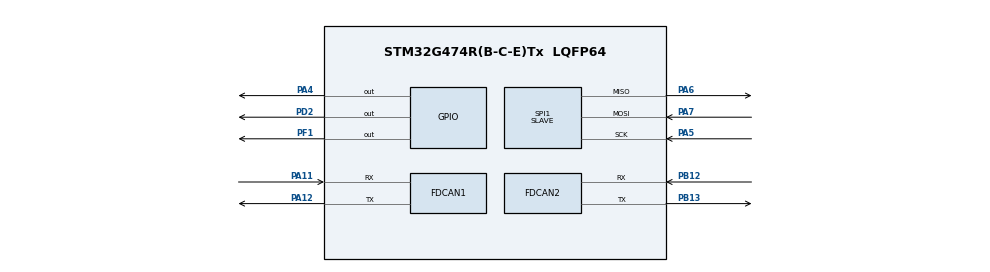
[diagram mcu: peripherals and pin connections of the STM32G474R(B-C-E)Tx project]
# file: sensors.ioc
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CRC.DefaultPolynomialUse=DEFAULT_POLYNOMIAL_ENABLE
Dma.Request0=SPI1_TX
Dma.Request1=SPI1_RX
Dma.SPI1_RX.1.Direction=DMA_PERIPH_TO_MEMORY
Dma.SPI1_RX.1.EventEnable=DISABLE
Dma.SPI1_RX.1.Instance=DMA1_Channel2
Dma.SPI1_RX.1.MemDataAlignment=DMA_MDATAALIGN_HALFWORD
Dma.SPI1_RX.1.MemInc=DMA_MINC_ENABLE
Dma.SPI1_RX.1.Mode=DMA_NORMAL
Dma.SPI1_RX.1.PeriphDataAlignment=DMA_PDATAALIGN_HALFWORD
Dma.SPI1_RX.1.PeriphInc=DMA_PINC_DISABLE
Dma.SPI1_RX.1.Polarity=HAL_DMAMUX_REQ_GEN_RISING
Dma.SPI1_RX.1.Priority=DMA_PRIORITY_LOW
Dma.SPI1_RX.1.RequestNumber=1
Dma.SPI1_RX.1.SignalID=NONE
Dma.SPI1_RX.1.SyncEnable=DISABLE
Dma.SPI1_RX.1.SyncPolarity=HAL_DMAMUX_SYNC_NO_EVENT
Dma.SPI1_RX.1.SyncRequestNumber=1
Dma.SPI1_RX.1.SyncSignalID=NONE
Dma.SPI1_TX.0.Direction=DMA_MEMORY_TO_PERIPH
Dma.SPI1_TX.0.EventEnable=DISABLE
Dma.SPI1_TX.0.Instance=DMA1_Channel1
Dma.SPI1_TX.0.MemDataAlignment=DMA_MDATAALIGN_HALFWORD
Dma.SPI1_TX.0.MemInc=DMA_MINC_ENABLE
Dma.SPI1_TX.0.Mode=DMA_NORMAL
Dma.SPI1_TX.0.PeriphDataAlignment=DMA_PDATAALIGN_HALFWORD
Dma.SPI1_TX.0.PeriphInc=DMA_PINC_DISABLE
Dma.SPI1_TX.0.Polarity=HAL_DMAMUX_REQ_GEN_RISING
Dma.SPI1_TX.0.Priority=DMA_PRIORITY_HIGH
Dma.SPI1_TX.0.RequestNumber=1
Dma.SPI1_TX.0.SignalID=NONE
Dma.SPI1_TX.0.SyncEnable=DISABLE
Dma.SPI1_TX.0.SyncPolarity=HAL_DMAMUX_SYNC_NO_EVENT
Dma.SPI1_TX.0.SyncRequestNumber=1
Dma.SPI1_TX.0.SyncSignalID=NONE
FDCAN1.CalculateBaudRateNominal=1000000
FDCAN1.CalculateTimeBitNominal=1000
FDCAN1.CalculateTimeQuantumNominal=6.25
FDCAN1.ClockDivider=FDCAN_CLOCK_DIV1
FDCAN1.FrameFormat=FDCAN_FRAME_CLASSIC
FDCAN1.NominalPrescaler=1
FDCAN1.NominalSyncJumpWidth=40
FDCAN1.NominalTimeSeg1=119
FDCAN1.NominalTimeSeg2=40
FDCAN2.CalculateBaudRateNominal=1000000
FDCAN2.CalculateTimeBitNominal=1000
FDCAN2.CalculateTimeQuantumNominal=6.25
FDCAN2.DataSyncJumpWidth=10
FDCAN2.DataTimeSeg1=9
FDCAN2.DataTimeSeg2=10
FDCAN2.FrameFormat=FDCAN_FRAME_FD_NO_BRS
FDCAN2.NominalPrescaler=1
FDCAN2.NominalSyncJumpWidth=40
FDCAN2.NominalTimeSeg1=119
FDCAN2.NominalTimeSeg2=40
Mcu.Family=STM32G4
Mcu.Name=STM32G474R(B-C-E)Tx
Mcu.Package=LQFP64
NVIC.DMA1_Channel1_IRQn=true\:0\:0\:false\:false\:true\:false\:true\:true
NVIC.DMA1_Channel2_IRQn=true\:0\:0\:false\:false\:true\:false\:true\:true
NVIC.FDCAN1_IT0_IRQn=true\:0\:0\:false\:false\:true\:true\:true\:true
NVIC.FDCAN2_IT0_IRQn=true\:0\:0\:false\:false\:true\:true\:true\:true
NVIC.PriorityGroup=NVIC_PRIORITYGROUP_4
NVIC.TIM1_UP_TIM16_IRQn=true\:15\:0\:false\:false\:true\:false\:true\:true
NVIC.TimeBase=TIM1_UP_TIM16_IRQn
NVIC.TimeBaseIP=TIM1
PA11.GPIO_Mode=GPIO_MODE_AF_PP
PA11.GPIO_PuPd=GPIO_NOPULL
PA11.GPIO_Speed=GPIO_SPEED_FREQ_VERY_HIGH
PA11.Mode=FDCAN_Activate
PA11.Signal=FDCAN1_RX
PA12.GPIO_Mode=GPIO_MODE_AF_PP
PA12.GPIO_PuPd=GPIO_NOPULL
PA12.GPIO_Speed=GPIO_SPEED_FREQ_VERY_HIGH
PA12.Mode=FDCAN_Activate
PA12.Signal=FDCAN1_TX
PA13.Mode=Trace_Asynchronous_SW
PA13.Signal=SYS_JTMS-SWDIO
PA14.Mode=Trace_Asynchronous_SW
PA14.Signal=SYS_JTCK-SWCLK
PA4.GPIO_ModeDefaultOutputPP=GPIO_MODE_OUTPUT_PP
PA4.GPIO_PuPd=GPIO_NOPULL
PA4.GPIO_Speed=GPIO_SPEED_FREQ_VERY_HIGH
PA4.PinState=GPIO_PIN_SET
PA4.Signal=GPIO_Output
PA5.GPIO_Speed=GPIO_SPEED_FREQ_VERY_HIGH
PA5.Mode=Full_Duplex_Slave
PA5.Signal=SPI1_SCK
PA6.GPIO_Speed=GPIO_SPEED_FREQ_VERY_HIGH
PA6.Mode=Full_Duplex_Slave
PA6.Signal=SPI1_MISO
PA7.GPIO_PuPd=GPIO_PULLDOWN
PA7.GPIO_Speed=GPIO_SPEED_FREQ_VERY_HIGH
PA7.Mode=Full_Duplex_Slave
PA7.Signal=SPI1_MOSI
PB12.GPIO_Speed=GPIO_SPEED_FREQ_VERY_HIGH
PB12.Mode=FDCAN_Activate
PB12.Signal=FDCAN2_RX
PB13.GPIO_Speed=GPIO_SPEED_FREQ_VERY_HIGH
PB13.Mode=FDCAN_Activate
PB13.Signal=FDCAN2_TX
PB3.Mode=Trace_Asynchronous_SW
PB3.Signal=SYS_JTDO-SWO
PC10.Signal=SPI3_SCK
PD2.Signal=GPIO_Output
PF0-OSC_IN.Signal=RCC_OSC_IN
PF1-OSC_OUT.Signal=GPIO_Output
ProjectManager.HeapSize=0x200
ProjectManager.StackSize=0x400
ProjectManager.TargetToolchain=CMake
RCC.ADC12Freq_Value=160000000
RCC.ADC345Freq_Value=160000000
RCC.AHBFreq_Value=160000000
RCC.APB1Freq_Value=160000000
RCC.APB1TimFreq_Value=160000000
RCC.APB2Freq_Value=160000000
RCC.APB2TimFreq_Value=160000000
RCC.CortexFreq_Value=160000000
RCC.EXTERNAL_CLOCK_VALUE=12288000
RCC.HCLKFreq_Value=160000000
RCC.HSE_VALUE=8000000
RCC.HSI48_VALUE=48000000
RCC.HSI_VALUE=16000000
RCC.I2C2CLockSelection=RCC_I2C2CLKSOURCE_SYSCLK
RCC.I2C3CLockSelection=RCC_I2C3CLKSOURCE_SYSCLK
RCC.I2C4CLockSelection=RCC_I2C4CLKSOURCE_SYSCLK
RCC.LSE_VALUE=32768
RCC.PLLN=20
RCC.SYSCLKFreq_VALUE=160000000
RCC.SYSCLKSource=RCC_SYSCLKSOURCE_PLLCLK
RCC.USBFreq_Value=160000000
RCC.VCOOutputFreq_Value=320000000
SPI1.DataSize=SPI_DATASIZE_16BIT
SPI1.Direction=SPI_DIRECTION_2LINES
SPI1.FirstBit=SPI_FIRSTBIT_MSB
SPI1.Mode=SPI_MODE_SLAVE
SPI1.VirtualType=VM_SLAVE
VP_CRC_VS_CRC.Mode=CRC_Activate
VP_SYS_VS_DBSignals.Mode=DisableDeadBatterySignals
VP_SYS_VS_tim1.Mode=TIM1
board=custom

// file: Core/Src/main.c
/* USER CODE BEGIN Header */
/**
  ******************************************************************************
  * @file           : main.c
  * @brief          : Main program body
  ******************************************************************************
  * @attention
  *
  * Copyright (c) 2024 STMicroelectronics.
  * All rights reserved.
  *
  * This software is licensed under terms that can be found in the LICENSE file
  * in the root directory of this software component.
  * If no LICENSE file comes with this software, it is provided AS-IS.
  *
  ******************************************************************************
  */
/* USER CODE END Header */
#include "main.h"
#include "crc.h"
#include "dma.h"
#include "fdcan.h"
#include "spi.h"
#include "gpio.h"

/* USER CODE BEGIN Includes */
#include <stdio.h>
#include <string.h>
#include <circularBuffer.h>
//#include "circularBuffer.h"
/* USER CODE END Includes */

/* USER CODE BEGIN PD */
#ifdef __GNUC__
#define PUTCHAR_PROTOTYPE int __io_putchar(int ch)
#else
#define PUTCHAR_PROTOTYPE int fputc(int ch, FILE *f)
#endif
/* USER CODE END PD */

/* USER CODE BEGIN PM */
PUTCHAR_PROTOTYPE
{
  ITM_SendChar(ch);
  return ch;
}
//CircularBuffer *cb;
/* USER CODE END PM */

/* USER CODE BEGIN PV */
FDCAN_RxHeaderTypeDef RxHeader_FDCAN2;
enum {
  TRANSFER_WAIT,
  TRANSFER_COMPLETE,
  TRANSFER_ERROR
};
__IO uint32_t wTransferState = TRANSFER_COMPLETE;
struct CAN{
  union{
    uint16_t buffer[35];
    struct{
      uint32_t ID;
      uint8_t bus;
      uint8_t length;
      uint8_t data[64];
    }split;
  }combined;
};

struct CAN buffer[64];

CircularBuffer *cb = NULL;

/* USER CODE END PV */

void SystemClock_Config(void);

int main(void)
{

  /* MCU Configuration--------------------------------------------------------*/

  /* Reset of all peripherals, Initializes the Flash interface and the Systick. */
  HAL_Init();

  /* USER CODE BEGIN Init */

  uint16_t RxData[36];
  FDCAN_TxHeaderTypeDef TxHeader;
  TxHeader.Identifier = 0x3FF;
  TxHeader.IdType = FDCAN_STANDARD_ID;
  TxHeader.TxFrameType = FDCAN_DATA_FRAME;
  TxHeader.DataLength = FDCAN_DLC_BYTES_8;
  TxHeader.ErrorStateIndicator = FDCAN_ESI_ACTIVE;
  TxHeader.BitRateSwitch = FDCAN_BRS_OFF;
  TxHeader.FDFormat = FDCAN_CLASSIC_CAN;
  TxHeader.TxEventFifoControl = FDCAN_NO_TX_EVENTS;
  TxHeader.MessageMarker = 0;

  /* USER CODE END Init */

  /* Configure the system clock */
  SystemClock_Config();

  /* Initialize all configured peripherals */
  MX_GPIO_Init();
  MX_DMA_Init();
  MX_FDCAN1_Init();
  MX_SPI1_Init();
  MX_CRC_Init();
  MX_FDCAN2_Init();
  /* USER CODE BEGIN 2 */
  cb = circular_buffer_init(64, 72);
  GPIOA->BSRR = (uint32_t)GPIO_PIN_4;

  HAL_FDCAN_ActivateNotification(&hfdcan2, FDCAN_IT_RX_FIFO0_NEW_MESSAGE, 0);
  HAL_FDCAN_ActivateNotification(&hfdcan1, FDCAN_IT_RX_FIFO0_NEW_MESSAGE, 0);
  HAL_FDCAN_Start(&hfdcan1);
  HAL_FDCAN_Start(&hfdcan2);
  /* USER CODE END 2 */

  /* Infinite loop */
  /* USER CODE BEGIN WHILE */
  while (1)
  {
    printf("Wrong parameters value: file %s on line %d\r\n");

    if(wTransferState == TRANSFER_COMPLETE)
    {
      struct CAN *tmp2 = circularBufferPop(cb);
      if(tmp2 != NULL){
        uint8_t temp = 0;
        wTransferState = TRANSFER_WAIT;
        uint8_t length = tmp2->combined.split.length;
        temp = (length >> 1) + (length % 2) + 3;
        HAL_SPI_TransmitReceive_DMA(&hspi1, (uint8_t *)tmp2, (uint8_t *)RxData, temp);
        GPIOA->BRR = (uint32_t)GPIO_PIN_4;

      }
    }
    /* USER CODE END WHILE */

  }
}

void SystemClock_Config(void)
{
  LL_FLASH_SetLatency(LL_FLASH_LATENCY_4);
  while(LL_FLASH_GetLatency() != LL_FLASH_LATENCY_4)
  {
  }
  LL_PWR_EnableRange1BoostMode();
  LL_RCC_HSI_Enable();
   /* Wait till HSI is ready */
  while(LL_RCC_HSI_IsReady() != 1)
  {
  }

  LL_RCC_HSI_SetCalibTrimming(64);
  LL_RCC_PLL_ConfigDomain_SYS(LL_RCC_PLLSOURCE_HSI, LL_RCC_PLLM_DIV_1, 20, LL_RCC_PLLR_DIV_2);
  LL_RCC_PLL_EnableDomain_SYS();
  LL_RCC_PLL_Enable();
   /* Wait till PLL is ready */
  while(LL_RCC_PLL_IsReady() != 1)
  {
  }

  LL_RCC_SetSysClkSource(LL_RCC_SYS_CLKSOURCE_PLL);
  LL_RCC_SetAHBPrescaler(LL_RCC_SYSCLK_DIV_2);
   /* Wait till System clock is ready */
  while(LL_RCC_GetSysClkSource() != LL_RCC_SYS_CLKSOURCE_STATUS_PLL)
  {
  }

  /* Insure 1us transition state at intermediate medium speed clock*/
  for (__IO uint32_t i = (170 >> 1); i !=0; i--);

  /* Set AHB prescaler*/
  LL_RCC_SetAHBPrescaler(LL_RCC_SYSCLK_DIV_1);
  LL_RCC_SetAPB1Prescaler(LL_RCC_APB1_DIV_1);
  LL_RCC_SetAPB2Prescaler(LL_RCC_APB2_DIV_1);
  LL_SetSystemCoreClock(160000000);

   /* Update the time base */
  if (HAL_InitTick (TICK_INT_PRIORITY) != HAL_OK)
  {
    Error_Handler();
  }
}

/* USER CODE BEGIN 4 */
void HAL_FDCAN_RxFifo0Callback(FDCAN_HandleTypeDef *hfdcan, uint32_t RxFifo0ITs)
{
  struct CAN tmp = {};
  HAL_FDCAN_GetRxMessage(hfdcan, FDCAN_RX_FIFO0, &RxHeader_FDCAN2, tmp.combined.split.data);
  tmp.combined.split.ID = RxHeader_FDCAN2.Identifier;
  tmp.combined.split.length = RxHeader_FDCAN2.DataLength;
  tmp.combined.split.bus = hfdcan->Instance == FDCAN1 ? 1 : 2;
  circularBufferPush(cb, tmp.combined.buffer, sizeof(tmp.combined.buffer));
}

void HAL_SPI_TxRxCpltCallback(SPI_HandleTypeDef *hspi)
{
  GPIOA->BSRR = (uint32_t)GPIO_PIN_4;
  wTransferState = TRANSFER_COMPLETE;
}

void HAL_SPI_ErrorCallback(SPI_HandleTypeDef *hspi)
{
  wTransferState = TRANSFER_ERROR;
}
/* USER CODE END 4 */

void HAL_TIM_PeriodElapsedCallback(TIM_HandleTypeDef *htim)
{
  if (htim->Instance == TIM1) {
    HAL_IncTick();
  }
}

void Error_Handler(void)
{
  __disable_irq();
  while (1)
  {
  }
}
